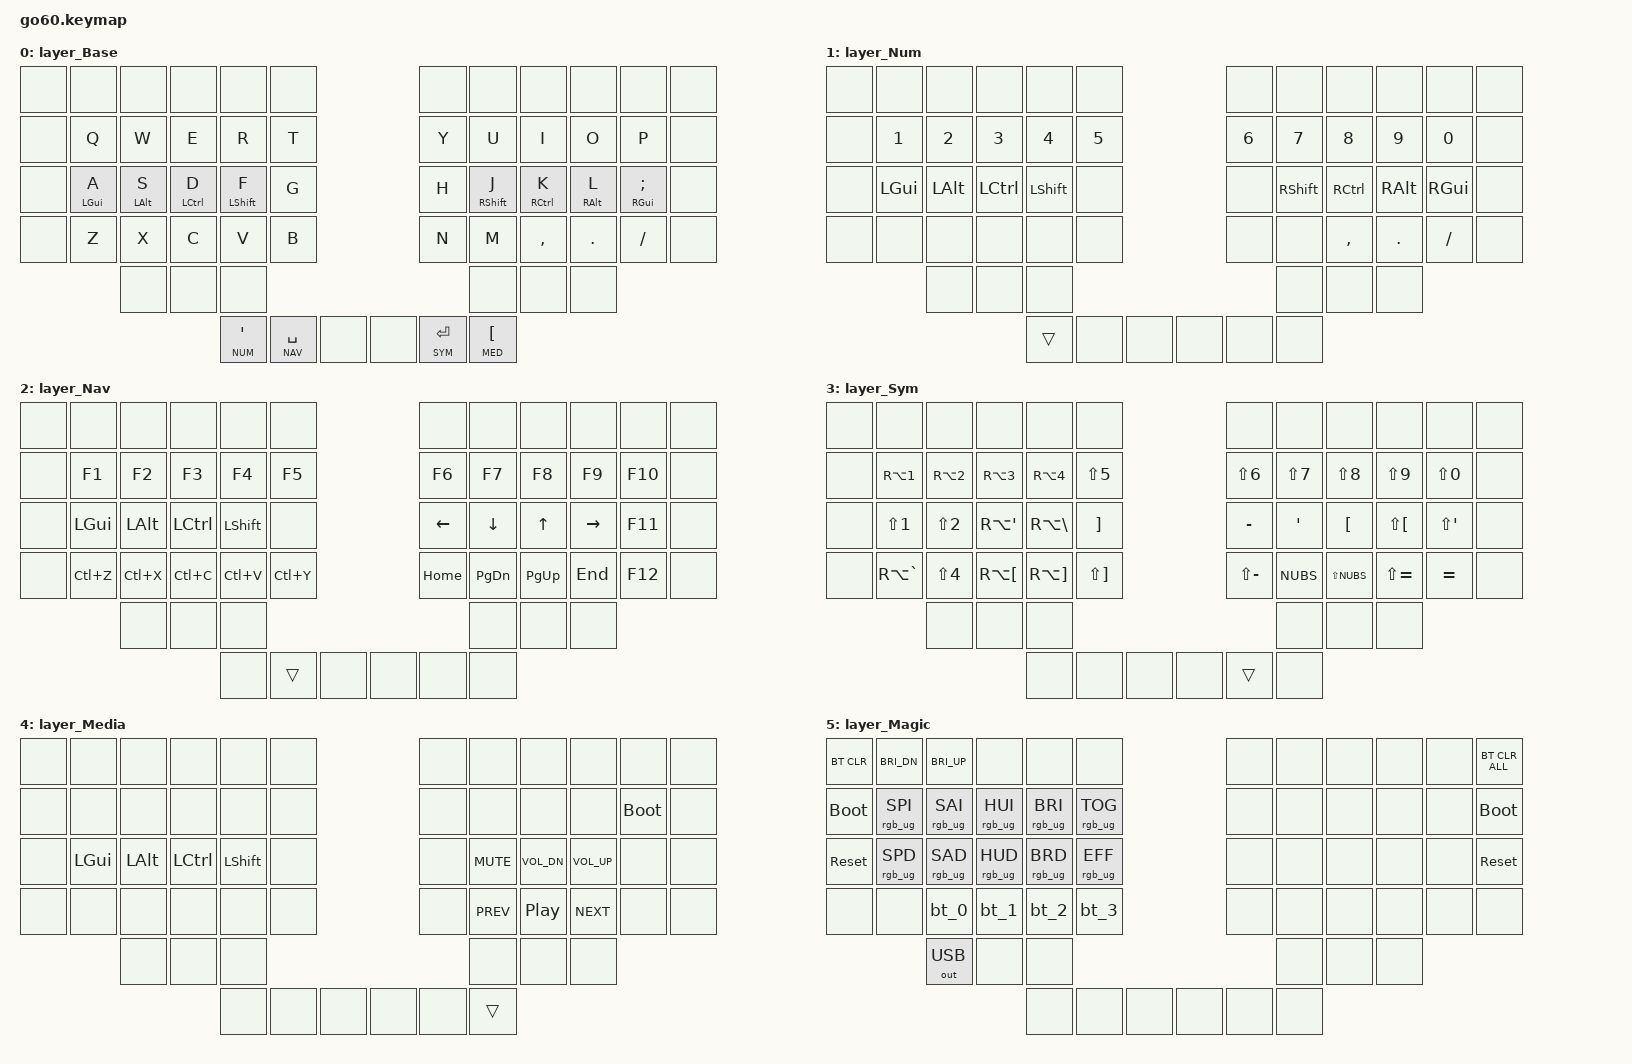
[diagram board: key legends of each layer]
/*
 * Go60 - Sweep 30-Key Layout
 * ===========================
 * Portado desde: Corne v4.1 / sweep-30key-zmk.keymap
 * Fecha: 2026-03-23
 * SO: ES keyboard layout (Hyprland/Wayland)
 *
 * 30 teclas activas de las 60 del Go60.
 * Las teclas no usadas están como &none.
 * Alphas en columnas C5-C1 (filas 2-4), thumbs en T1 y T2.
 *
 * Los keycodes usan nombres US QWERTY (estándar ZMK/HID).
 * El SO interpreta según layout ES configurado en el sistema.
 *
 * Mapeo ES: SEMI=ñ, SQT=´(dead), LBKT=`(dead), RBKT=+, MINUS=',
 *           FSLH=-, NUBS=<, GRAVE=º, BSLH=ç
 */

#include <behaviors.dtsi>
#include <dt-bindings/zmk/bt.h>
#include <dt-bindings/zmk/ext_power.h>
#include <dt-bindings/zmk/keys.h>
#include <dt-bindings/zmk/outputs.h>
#include <dt-bindings/zmk/rgb.h>
#include <dt-bindings/zmk/input_transform.h>
#include <dt-bindings/zmk/pointing.h>

#include <input/processors.dtsi>
#include <zephyr/dt-bindings/input/input-event-codes.h>

// Layer definitions
#define BASE 0
#define NUM  1
#define NAV  2
#define SYM  3
#define MED  4
#define MAGIC 5

// Go60 key positions (0-indexed) for reference:
//   Row 1: 0-5 (left C6-C1), 6-11 (right C1-C6)     ← all &none
//   Row 2: 12-17 (left C6-C1), 18-23 (right C1-C6)   ← 12,23 = &none
//   Row 3: 24-29 (left C6-C1), 30-35 (right C1-C6)   ← 24,35 = &none
//   Row 4: 36-41 (left C6-C1), 42-47 (right C1-C6)   ← 36,47 = &none
//   Row 5: 48-50 (left), 51-53 (right)                ← all &none
//   Thumbs: 54-56 (left T1-T3), 57-59 (right T3-T1)  ← 56,57 = &none

/ {
    input_processors {
        zip_click_to_right_click_mapper: zip_click_to_right_click_mapper {
            compatible = "zmk,input-processor-code-mapper";
            #input-processor-cells = <0>;
            type = <INPUT_EV_KEY>;
            map = <INPUT_BTN_0 INPUT_BTN_1>;
        };
    };

    behaviors {
        // Magic layer behavior (required by Go60)
        magic: magic {
            compatible = "zmk,behavior-hold-tap";
            #binding-cells = <2>;
            flavor = "tap-preferred";
            tapping-term-ms = <200>;
            bindings = <&mo>, <&rgb_ug_status_macro>;
        };

        // Home Row Mods - Left hand
        // Triggers on right-side keys + right thumbs
        hml: homerow_mod_left {
            compatible = "zmk,behavior-hold-tap";
            #binding-cells = <2>;
            label = "HOMEROW_MOD_LEFT";
            flavor = "balanced";
            tapping-term-ms = <250>;
            quick-tap-ms = <175>;
            require-prior-idle-ms = <150>;
            bindings = <&kp>, <&kp>;
            hold-trigger-key-positions = <18 19 20 21 22 30 31 32 33 34 42 43 44 45 46 58 59>;
            hold-trigger-on-release;
        };

        // Home Row Mods - Right hand
        // Triggers on left-side keys + left thumbs
        hmr: homerow_mod_right {
            compatible = "zmk,behavior-hold-tap";
            #binding-cells = <2>;
            label = "HOMEROW_MOD_RIGHT";
            flavor = "balanced";
            tapping-term-ms = <250>;
            quick-tap-ms = <175>;
            require-prior-idle-ms = <150>;
            bindings = <&kp>, <&kp>;
            hold-trigger-key-positions = <13 14 15 16 17 25 26 27 28 29 37 38 39 40 41 54 55>;
            hold-trigger-on-release;
        };

        // Layer-tap for thumbs
        ltl: layer_tap_left {
            compatible = "zmk,behavior-hold-tap";
            #binding-cells = <2>;
            label = "LAYER_TAP_LEFT";
            flavor = "balanced";
            tapping-term-ms = <250>;
            quick-tap-ms = <175>;
            bindings = <&mo>, <&kp>;
        };

        ltr: layer_tap_right {
            compatible = "zmk,behavior-hold-tap";
            #binding-cells = <2>;
            label = "LAYER_TAP_RIGHT";
            flavor = "balanced";
            tapping-term-ms = <250>;
            quick-tap-ms = <175>;
            bindings = <&mo>, <&kp>;
        };

        // Bluetooth tap-dance behaviors (from Go60 template)
        bt_0: bt_0 {
            compatible = "zmk,behavior-tap-dance";
            #binding-cells = <0>;
            tapping-term-ms = <200>;
            bindings = <&bt_select_0>, <&bt BT_DISC 0>;
        };
        bt_1: bt_1 {
            compatible = "zmk,behavior-tap-dance";
            #binding-cells = <0>;
            tapping-term-ms = <200>;
            bindings = <&bt_select_1>, <&bt BT_DISC 1>;
        };
        bt_2: bt_2 {
            compatible = "zmk,behavior-tap-dance";
            #binding-cells = <0>;
            tapping-term-ms = <200>;
            bindings = <&bt_select_2>, <&bt BT_DISC 2>;
        };
        bt_3: bt_3 {
            compatible = "zmk,behavior-tap-dance";
            #binding-cells = <0>;
            tapping-term-ms = <200>;
            bindings = <&bt_select_3>, <&bt BT_DISC 3>;
        };
    };

    macros {
        rgb_ug_status_macro: rgb_ug_status_macro {
            compatible = "zmk,behavior-macro";
            #binding-cells = <0>;
            bindings = <&rgb_ug RGB_STATUS>;
        };

        bt_select_0: bt_select_0 {
            compatible = "zmk,behavior-macro";
            #binding-cells = <0>;
            bindings = <&out OUT_BLE>, <&bt BT_SEL 0>;
        };
        bt_select_1: bt_select_1 {
            compatible = "zmk,behavior-macro";
            #binding-cells = <0>;
            bindings = <&out OUT_BLE>, <&bt BT_SEL 1>;
        };
        bt_select_2: bt_select_2 {
            compatible = "zmk,behavior-macro";
            #binding-cells = <0>;
            bindings = <&out OUT_BLE>, <&bt BT_SEL 2>;
        };
        bt_select_3: bt_select_3 {
            compatible = "zmk,behavior-macro";
            #binding-cells = <0>;
            bindings = <&out OUT_BLE>, <&bt BT_SEL 3>;
        };
    };

    combos {
        compatible = "zmk,combos";

        // W + E = Esc  (Go60 positions 14 + 15)
        combo_esc {
            timeout-ms = <50>;
            key-positions = <14 15>;
            bindings = <&kp ESC>;
        };

        // D + F = Tab  (Go60 positions 27 + 28)
        combo_tab {
            timeout-ms = <50>;
            key-positions = <27 28>;
            bindings = <&kp TAB>;
        };

        // F + G = Caps Word  (Go60 positions 28 + 29)
        combo_capsword {
            timeout-ms = <50>;
            key-positions = <28 29>;
            bindings = <&caps_word>;
        };

        // Z + X = Undo / Ctrl+Z  (Go60 positions 37 + 38)
        combo_undo {
            timeout-ms = <50>;
            key-positions = <37 38>;
            bindings = <&kp LC(Z)>;
        };

        // X + C = Cut / Ctrl+X  (Go60 positions 38 + 39)
        combo_cut {
            timeout-ms = <50>;
            key-positions = <38 39>;
            bindings = <&kp LC(X)>;
        };

        // C + V = Copy / Ctrl+C  (Go60 positions 39 + 40)
        combo_copy {
            timeout-ms = <50>;
            key-positions = <39 40>;
            bindings = <&kp LC(C)>;
        };

        // V + B = Paste / Ctrl+V  (Go60 positions 40 + 41)
        combo_paste {
            timeout-ms = <50>;
            key-positions = <40 41>;
            bindings = <&kp LC(V)>;
        };

        // J + K = Backspace  (Go60 positions 31 + 32)
        combo_bksp {
            timeout-ms = <50>;
            key-positions = <31 32>;
            bindings = <&kp BSPC>;
        };

        // K + L = Delete  (Go60 positions 32 + 33)
        combo_del {
            timeout-ms = <50>;
            key-positions = <32 33>;
            bindings = <&kp DEL>;
        };
    };

    keymap {
        compatible = "zmk,keymap";

        // ========================================
        // LAYER 0: BASE (QWERTY + Home Row Mods)
        // ========================================
        // Go60 layout (30 active keys shown, rest &none):
        //
        // Row 1: [  none  ] [  none  ] [  none  ] [  none  ] [  none  ] [  none  ]     [  none  ] [  none  ] [  none  ] [  none  ] [  none  ] [  none  ]
        // Row 2: [  none  ] [   Q    ] [   W    ] [   E    ] [   R    ] [   T    ]     [   Y    ] [   U    ] [   I    ] [   O    ] [   P    ] [  none  ]
        // Row 3: [  none  ] [ GUI/A  ] [ ALT/S  ] [ CTL/D  ] [ SFT/F  ] [   G    ]     [   H    ] [ SFT/J  ] [ CTL/K  ] [ ALT/L  ] [ GUI/ñ  ] [  none  ]
        // Row 4: [  none  ] [   Z    ] [   X    ] [   C    ] [   V    ] [   B    ]     [   N    ] [   M    ] [   ,    ] [   .    ] [   -    ] [  none  ]
        // Row 5:             [  none  ] [  none  ] [  none  ]                                     [  none  ] [  none  ] [  none  ]
        // Thumb:                                     [ NUM/´  ] [ NAV/Sp ] [  none  ]     [  none  ] [ SYM/En ] [ MED/`  ]
        layer_Base {
            bindings = <
                &none            &none            &none            &none            &none          &none                                       &none     &none            &none            &none            &none            &none
                &none            &kp Q            &kp W            &kp E            &kp R          &kp T                                       &kp Y     &kp U            &kp I            &kp O            &kp P            &none
                &none            &hml LGUI A      &hml LALT S      &hml LCTRL D     &hml LSHFT F   &kp G                                       &kp H     &hmr RSHFT J     &hmr RCTRL K     &hmr RALT L      &hmr RGUI SEMI   &none
                &none            &kp Z            &kp X            &kp C            &kp V          &kp B                                       &kp N     &kp M            &kp COMMA        &kp DOT          &kp FSLH         &none
                                                  &none            &none            &none                                                                &none            &none            &none
                                                                                    &ltl NUM SQT   &ltl NAV SPACE  &none       &none  &ltr SYM RET  &ltr MED LBKT
            >;
        };

        // ========================================
        // LAYER 1: NUMBERS (hold NUM/´)
        // ========================================
        layer_Num {
            bindings = <
                &none     &none     &none      &none      &none      &none                                         &none   &none      &none      &none     &none     &none
                &none     &kp N1    &kp N2     &kp N3     &kp N4     &kp N5                                        &kp N6  &kp N7     &kp N8     &kp N9    &kp N0    &none
                &none     &kp LGUI  &kp LALT   &kp LCTRL  &kp LSHFT  &none                                         &none   &kp RSHFT  &kp RCTRL  &kp RALT  &kp RGUI  &none
                &none     &none     &none      &none      &none      &none                                         &none   &none      &kp COMMA  &kp DOT   &kp FSLH  &none
                                    &none      &none      &none                                                             &none      &none      &none
                                                                      &trans   &none   &none         &none   &none   &none
            >;
        };

        // ========================================
        // LAYER 2: FN + NAVIGATION + CLIPBOARD (hold NAV/Space)
        // ========================================
        layer_Nav {
            bindings = <
                &none     &none     &none      &none      &none      &none                                         &none     &none      &none      &none      &none     &none
                &none     &kp F1    &kp F2     &kp F3     &kp F4     &kp F5                                        &kp F6    &kp F7     &kp F8     &kp F9     &kp F10   &none
                &none     &kp LGUI  &kp LALT   &kp LCTRL  &kp LSHFT  &none                                         &kp LEFT  &kp DOWN   &kp UP     &kp RIGHT  &kp F11   &none
                &none     &kp LC(Z) &kp LC(X)  &kp LC(C)  &kp LC(V)  &kp LC(Y)                                     &kp HOME  &kp PG_DN  &kp PG_UP  &kp END    &kp F12   &none
                                    &none      &none      &none                                                               &none      &none      &none
                                                                      &none   &trans   &none         &none   &none   &none
            >;
        };

        // ========================================
        // LAYER 3: SYMBOLS (ES layout)
        // ========================================
        // What you see (ES): | @ # ~ % / & / ( ) = / ! " { } + / ' ´ ` ^ ¨ / \ $ [ ] * / ? < > ¿ ¡
        layer_Sym {
            bindings = <
                &none          &none          &none          &none          &none           &none                                            &none          &none          &none          &none          &none       &none
                &none          &kp RA(N1)     &kp RA(N2)     &kp RA(N3)     &kp RA(N4)      &kp LS(N5)                                       &kp LS(N6)     &kp LS(N7)     &kp LS(N8)     &kp LS(N9)     &kp LS(N0)  &none
                &none          &kp LS(N1)     &kp LS(N2)     &kp RA(SQT)    &kp RA(BSLH)    &kp RBKT                                         &kp MINUS      &kp SQT        &kp LBKT       &kp LS(LBKT)   &kp LS(SQT) &none
                &none          &kp RA(GRAVE)  &kp LS(N4)     &kp RA(LBKT)   &kp RA(RBKT)    &kp LS(RBKT)                                     &kp LS(MINUS)  &kp NUBS       &kp LS(NUBS)   &kp LS(EQUAL)  &kp EQUAL   &none
                                              &none          &none          &none                                                                            &none          &none          &none
                                                                                             &none   &none   &none         &none   &trans   &none
            >;
        };

        // ========================================
        // LAYER 4: MEDIA + SYSTEM
        // ========================================
        layer_Media {
            bindings = <
                &none     &none     &none      &none      &none      &none                                         &none  &none          &none          &none          &none        &none
                &none     &none     &none      &none      &none      &none                                         &none  &none          &none          &none          &bootloader  &none
                &none     &kp LGUI  &kp LALT   &kp LCTRL  &kp LSHFT  &none                                         &none  &kp C_MUTE     &kp C_VOL_DN   &kp C_VOL_UP   &none        &none
                &none     &none     &none      &none      &none      &none                                         &none  &kp C_PREV     &kp C_PP       &kp C_NEXT     &none        &none
                                    &none      &none      &none                                                           &none          &none          &none
                                                                      &none   &none   &none         &none   &none   &trans
            >;
        };

        // ========================================
        // LAYER 5: MAGIC (BT + RGB + System)
        // ========================================
        // Accessible via magic key if you add one, or via combo/other mechanism
        layer_Magic {
            bindings = <
                &bt BT_CLR     &kp C_BRI_DN     &kp C_BRI_UP     &none            &none            &none                                          &none   &none   &none   &none   &none   &bt BT_CLR_ALL
                &bootloader    &rgb_ug RGB_SPI   &rgb_ug RGB_SAI  &rgb_ug RGB_HUI  &rgb_ug RGB_BRI  &rgb_ug RGB_TOG                                &none   &none   &none   &none   &none   &bootloader
                &sys_reset     &rgb_ug RGB_SPD   &rgb_ug RGB_SAD  &rgb_ug RGB_HUD  &rgb_ug RGB_BRD  &rgb_ug RGB_EFF                                &none   &none   &none   &none   &none   &sys_reset
                &none          &none             &bt_0            &bt_1            &bt_2            &bt_3                                          &none   &none   &none   &none   &none   &none
                                                 &out OUT_USB     &none            &none                                                                   &none   &none   &none
                                                                                                     &none   &none   &none         &none   &none   &none
            >;
        };
    };
};

&cirque_rh_listener {
    input-processors = <&zip_xy_scaler 3 1>;
    layer_2 {
        layers = <2>;
        input-processors = <&zip_xy_scaler 9 1>;
    };
};

&cirque_lh_listener {
    input-processors = <&zip_xy_to_scroll_mapper>, <&zip_xy_scaler 1 8>, <&zip_click_to_right_click_mapper>;
    layer_4 {
        layers = <4>;
        input-processors = <&zip_xy_scaler 3 1>;
    };
};
